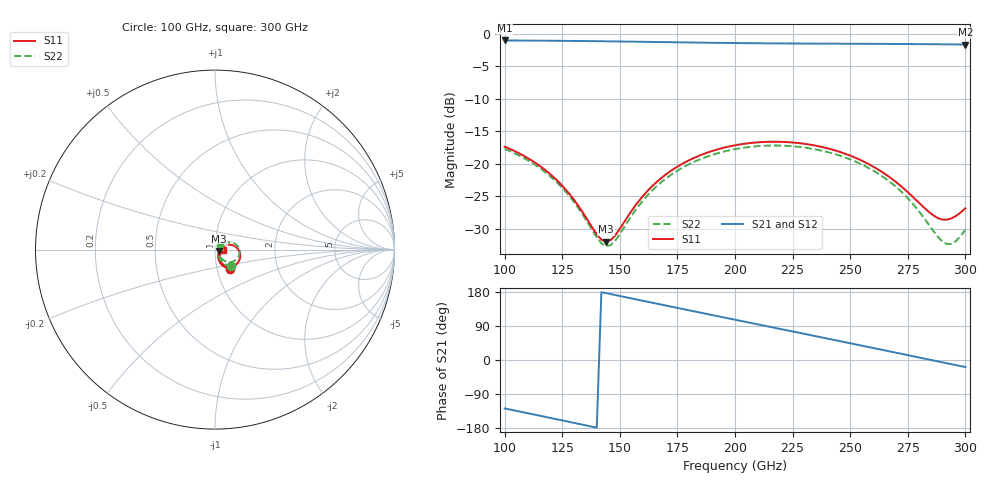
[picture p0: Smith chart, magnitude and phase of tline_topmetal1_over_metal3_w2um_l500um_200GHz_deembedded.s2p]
! Created with skrf 2.0.1 (http://scikit-rf.org).
# GHz S DB R 50.0
!freq dBS11 angS11 dBS21 angS21 dBS12 angS12 dBS22 angS22
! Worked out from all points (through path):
!   101 points, 100 GHz to 300 GHz, reference 50 ohm
!   highest |S21| = -1.07 dB at 100 GHz (marker M1); lowest = -1.7 dB at 300 GHz (marker M2)
!   group delay of S21, straight-line fit = 3.48 ps
!   lowest |S11| = -32.0 dB at 144 GHz (marker M3), VSWR 1.05, Z = 52.3 - j1.1 ohm
!   |S11| at or under -10 dB: start of sweep to end of sweep
!   |S22| runs from -32.6 to -17.2 dB; largest |S21 - S12| = 9.9e-14
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100  -17.37 -51.9  -1.07 -127.7  -1.07 -127.7  -17.70 -45.7
110  -19.11 -60.9  -1.08 -140.4  -1.08 -140.4  -19.45 -54.0
120  -21.65 -67.8  -1.11 -153.1  -1.11 -153.1  -21.98 -60.3
128  -24.57 -69.5  -1.13 -163.2  -1.13 -163.2  -24.90 -61.9
134  -27.51 -65.0  -1.15 -170.8  -1.15 -170.8  -27.85 -57.5
140  -30.83 -47.4  -1.18 -178.5  -1.18 -178.5  -31.29 -40.4
144  -31.96 -24.5  -1.20 176.5  -1.20 176.5  -32.65 -17.3
148  -30.99 -1.3  -1.21 171.4  -1.21 171.4  -31.81 7.3
158  -25.83 20.9  -1.26 158.8  -1.26 158.8  -26.55 31.8
168  -22.19 20.2  -1.31 146.2  -1.31 146.2  -22.83 31.9
182  -19.13 10.2  -1.38 128.7  -1.38 128.7  -19.74 22.9
200  -17.16 -6.7  -1.46 106.3  -1.46 106.3  -17.75 6.9
216  -16.61 -22.7  -1.51 86.5  -1.51 86.5  -17.19 -8.4
224  -16.70 -30.7  -1.53 76.6  -1.53 76.6  -17.28 -16.1
234  -17.15 -40.4  -1.55 64.1  -1.55 64.1  -17.72 -25.6
252  -19.03 -56.0  -1.57 41.7  -1.57 41.7  -19.61 -41.8
268  -22.29 -64.3  -1.60 21.6  -1.60 21.6  -22.99 -52.4
276  -24.68 -62.7  -1.62 11.5  -1.62 11.5  -25.66 -53.3
286  -27.90 -46.2  -1.64 -1.1  -1.64 -1.1  -30.27 -40.0
290  -28.56 -33.4  -1.66 -6.1  -1.66 -6.1  -31.92 -24.2
294  -28.37 -19.6  -1.67 -11.1  -1.67 -11.1  -32.29 -2.7
300  -26.83 -3.8  -1.69 -18.7  -1.69 -18.7  -30.13 22.5
